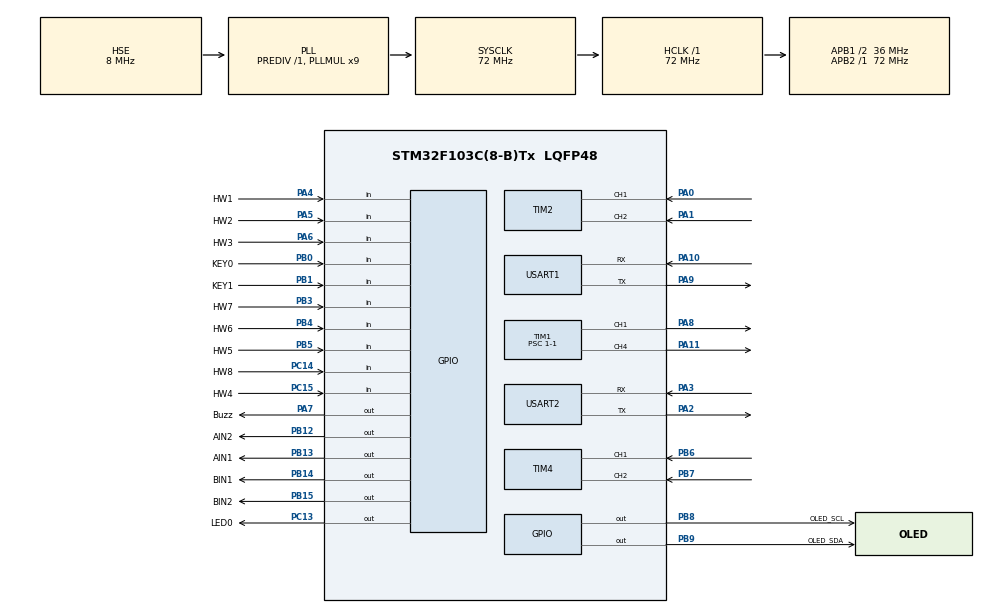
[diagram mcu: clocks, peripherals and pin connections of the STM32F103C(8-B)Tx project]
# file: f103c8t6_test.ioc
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Mcu.Family=STM32F1
Mcu.Name=STM32F103C(8-B)Tx
Mcu.Package=LQFP48
NVIC.PriorityGroup=NVIC_PRIORITYGROUP_2
NVIC.TIM2_IRQn=true\:3\:0\:true\:false\:true\:true\:true\:true
NVIC.TIM3_IRQn=true\:1\:0\:true\:false\:true\:true\:true\:true
NVIC.TIM4_IRQn=true\:3\:0\:true\:false\:true\:true\:true\:true
NVIC.USART1_IRQn=true\:2\:0\:true\:false\:true\:true\:true\:true
NVIC.USART2_IRQn=true\:1\:0\:true\:false\:true\:true\:true\:true
PA0-WKUP.Signal=S_TIM2_CH1_ETR
PA1.Signal=S_TIM2_CH2
PA10.Mode=Asynchronous
PA10.Signal=USART1_RX
PA11.Signal=S_TIM1_CH4
PA13.Mode=Serial_Wire
PA13.Signal=SYS_JTMS-SWDIO
PA14.Mode=Serial_Wire
PA14.Signal=SYS_JTCK-SWCLK
PA2.Mode=Asynchronous
PA2.Signal=USART2_TX
PA3.Mode=Asynchronous
PA3.Signal=USART2_RX
PA4.GPIO_Label=HW1
PA4.GPIO_PuPd=GPIO_NOPULL
PA4.Signal=GPIO_Input
PA5.GPIO_Label=HW2
PA5.Signal=GPIO_Input
PA6.GPIO_Label=HW3
PA6.Signal=GPIO_Input
PA7.GPIO_Label=Buzz
PA7.GPIO_ModeDefaultOutputPP=GPIO_MODE_OUTPUT_PP
PA7.GPIO_PuPd=GPIO_NOPULL
PA7.PinState=GPIO_PIN_SET
PA7.Signal=GPIO_Output
PA8.Signal=S_TIM1_CH1
PA9.Mode=Asynchronous
PA9.Signal=USART1_TX
PB0.GPIO_Label=KEY0
PB0.GPIO_PuPd=GPIO_PULLUP
PB0.Signal=GPIO_Input
PB1.GPIO_Label=KEY1
PB1.GPIO_PuPd=GPIO_PULLUP
PB1.Signal=GPIO_Input
PB12.GPIO_Label=AIN2
PB12.Signal=GPIO_Output
PB13.GPIO_Label=AIN1
PB13.Signal=GPIO_Output
PB14.GPIO_Label=BIN1
PB14.Signal=GPIO_Output
PB15.GPIO_Label=BIN2
PB15.Signal=GPIO_Output
PB3.GPIO_Label=HW7
PB3.Signal=GPIO_Input
PB4.GPIO_Label=HW6
PB4.Signal=GPIO_Input
PB5.GPIO_Label=HW5
PB5.Signal=GPIO_Input
PB6.Signal=S_TIM4_CH1
PB7.Signal=S_TIM4_CH2
PB8.GPIO_Label=OLED_SCL
PB8.GPIO_ModeDefaultOutputPP=GPIO_MODE_OUTPUT_OD
PB8.GPIO_PuPd=GPIO_NOPULL
PB8.GPIO_Speed=GPIO_SPEED_FREQ_HIGH
PB8.PinState=GPIO_PIN_RESET
PB8.Signal=GPIO_Output
PB9.GPIO_Label=OLED_SDA
PB9.GPIO_ModeDefaultOutputPP=GPIO_MODE_OUTPUT_OD
PB9.GPIO_PuPd=GPIO_NOPULL
PB9.Signal=GPIO_Output
PC13-TAMPER-RTC.GPIO_Label=LED0
PC13-TAMPER-RTC.PinState=GPIO_PIN_SET
PC13-TAMPER-RTC.Signal=GPIO_Output
PC14-OSC32_IN.GPIO_Label=HW8
PC14-OSC32_IN.Signal=GPIO_Input
PC15-OSC32_OUT.GPIO_Label=HW4
PC15-OSC32_OUT.Signal=GPIO_Input
PD0-OSC_IN.Mode=HSE-External-Oscillator
PD0-OSC_IN.Signal=RCC_OSC_IN
PD1-OSC_OUT.Mode=HSE-External-Oscillator
PD1-OSC_OUT.Signal=RCC_OSC_OUT
ProjectManager.HeapSize=0x200
ProjectManager.StackSize=0x400
ProjectManager.TargetToolchain=MDK-ARM V5.32
RCC.AHBFreq_Value=72000000
RCC.APB1CLKDivider=RCC_HCLK_DIV2
RCC.APB1Freq_Value=36000000
RCC.APB1TimFreq_Value=72000000
RCC.APB2Freq_Value=72000000
RCC.APB2TimFreq_Value=72000000
RCC.HCLKFreq_Value=72000000
RCC.PLLMUL=RCC_PLL_MUL9
RCC.PLLSourceVirtual=RCC_PLLSOURCE_HSE
RCC.SYSCLKFreq_VALUE=72000000
RCC.SYSCLKSource=RCC_SYSCLKSOURCE_PLLCLK
RCC.USBFreq_Value=72000000
SH.S_TIM1_CH1.0=TIM1_CH1,PWM Generation1 CH1
SH.S_TIM1_CH4.0=TIM1_CH4,PWM Generation4 CH4
SH.S_TIM2_CH1_ETR.0=TIM2_CH1,Encoder_Interface
SH.S_TIM2_CH2.0=TIM2_CH2,Encoder_Interface
SH.S_TIM4_CH1.0=TIM4_CH1,Encoder_Interface
SH.S_TIM4_CH2.0=TIM4_CH2,Encoder_Interface
TIM1.AutoReloadPreload=TIM_AUTORELOAD_PRELOAD_ENABLE
TIM1.Channel-PWM\ Generation1\ CH1=TIM_CHANNEL_1
TIM1.Channel-PWM\ Generation4\ CH4=TIM_CHANNEL_4
TIM1.Period=7200-1
TIM1.Prescaler=1-1
TIM2.EncoderMode=TIM_ENCODERMODE_TI12
TIM3.Period=200-1
TIM3.Prescaler=7200-1
TIM4.EncoderMode=TIM_ENCODERMODE_TI12
USART1.VirtualMode=VM_ASYNC
USART2.VirtualMode=VM_ASYNC
VP_TIM3_VS_ClockSourceINT.Mode=Internal
board=custom

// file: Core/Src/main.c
/* USER CODE BEGIN Header */
/**
 ******************************************************************************
 * @file           : main.c
 * @brief          : Main program body
 ******************************************************************************
 * @attention
 *
 * Copyright (c) 2024 STMicroelectronics.
 * All rights reserved.
 *
 * This software is lic 橙v    ensed under terms that can be found in the LICENSE file
 * in the root directory of this software component.
 * If no LICENSE file comes with this software, it is provided AS-IS.
 *
 ******************************************************************************
 */
/* USER CODE END Header */
#include "main.h"
#include "tim.h"
#include "usart.h"
#include "gpio.h"

/* USER CODE BEGIN Includes */
#include "oled.h"
#include "bmp.h"
#include "encoder.h"
#include "motor.h"
#include "pid.h"
#include "control.h"
#include "protocol.h"
// #include "mpu6050.h"
// #include "inv_mpu.h"
// #include "inv_mpu_dmp_motion_driver.h"
#include "jy61p.h"
#include "key.h"
#include "menu.h"
#include "line.h"
#include "buzz.h"

/* USER CODE END Includes */

/* USER CODE BEGIN PM */
uint8_t g_oledstring[50];                    // OLED显示
float g_pitch_6050, g_roll_6050, g_yaw_6050; // MPU6050的俯仰角 横滚�??? 航向�???
extern uint8_t g_usart2_receivedata;         // 串口2接收数据
uint8_t g_mode = 0;
// 小车运行模式
/* USER CODE END PM */

void SystemClock_Config(void);

/* USER CODE BEGIN 0 */
int count = 0;
/* USER CODE END 0 */

int main(void)
{

  /* MCU Configuration--------------------------------------------------------*/

  /* Reset of all peripherals, Initializes the Flash interface and the Systick. */
  HAL_Init();

  /* Configure the system clock */
  SystemClock_Config();

  /* Initialize all configured peripherals */
  MX_GPIO_Init();
  MX_TIM1_Init();
  MX_TIM4_Init();
  MX_TIM3_Init();
  MX_USART1_UART_Init();
  MX_USART2_UART_Init();
  MX_TIM2_Init();
  /* USER CODE BEGIN 2 */

  HAL_TIM_Encoder_Start(&htim2, TIM_CHANNEL_ALL); // �???启定时器2 编码器模�???
  HAL_TIM_Encoder_Start(&htim4, TIM_CHANNEL_ALL); // �???启定时器4 编码器模�???
  HAL_TIM_Base_Start_IT(&htim2);                  // �???启定时器2 中断
  HAL_TIM_Base_Start_IT(&htim4);                  // �???启定时器4 中断

  set_motor1_enable(); // 使能电机
  set_motor2_enable(); // 使能电机

  HAL_TIM_PWM_Start(&htim1, TIM_CHANNEL_4); // �???启定时器1 通道4 PWM输出
  HAL_TIM_PWM_Start(&htim1, TIM_CHANNEL_1); // �???启定时器1 通道1 PWM输出

  HAL_TIM_Base_Start_IT(&htim3); // �???启定时器3中断

  pid_param_init(); // pid参数初始�???

  __HAL_UART_ENABLE_IT(&huart1, UART_IT_RXNE);            // 串口1接收中断，只�???启接收中断，与上位机通信
  HAL_UART_Receive_IT(&huart2, &g_usart2_receivedata, 1); // 串口2接收数据中断

  //  protocol_init();       //这个初始化了才能通过上位机控制呀, 再看这个注意事项

  OLED_Init();         // OLED初始�???
  OLED_ColorTurn(0);   // 0正常显示�???1 反色显示
  OLED_DisplayTurn(0); // 0正常显示 1 屏幕翻转显示

  /* 初始化蜂鸣器，确保不响 */
  Buzz_Init();

  /* MPU6050初始�??? */
  //  HAL_Delay(500);//延时0.5�??? 6050上电稳定后初始化
  //  MPU_Init(); //初始化MPU6050
  //  while(MPU_Init()!=0);
  //  while(mpu_dmp_init()!=0);

  uint8_t key = 0;
  uint16_t target_angle = 0;

  /* USER CODE END 2 */

  /* Infinite loop */
  /* USER CODE BEGIN WHILE */

  // car_go(220);
  // car_spin(back_180);
  //  load_motor_pwm(500,500);
  // car_spin(left_90);
  // car_stop();
  // car_spin_degree(120);
  car_go(130, 0);
  while (1)
  {

    //      receiving_process();//解析野火上位机�?�信协议,调试电机位置速度串级PID时用,不用时注�???
    // if(g_Stop_Flag==0&&count==0){
    //    Buzz(10000);
    //    g_Stop_Flag=1;
    //     car_go(95);
    //  }
    // if(g_Stop_Flag==0&&count==1){
    //    Buzz(10000);
    //    g_Stop_Flag=1;
    //     car_go_line(122);
    //		 detect_line();
    //  }
    //	if(g_Stop_Flag==0&&count==2)
    // {
    //  g_Stop_Flag=1;
    //  Buzz(10000);
    //  car_spin_degree(179.5);
    //}
    // if(g_Stop_Flag==0&&count==3)
    // {
    //	  Buzz(10000);
    //	  g_Stop_Flag=1;
    //		car_go(105);
    // }
    //  if(g_Stop_Flag==0&&count==4)
    // {
    //	  Buzz(10000);
    //	  g_Stop_Flag=1;
    //		car_go_line(125);
    // }

    //
    // if(g_Stop_Flag==0&&count==0){
    //    Buzz(10000);
    //    g_Stop_Flag=1;
    //     car_go(130);
    //  }
    // if(g_Stop_Flag==0&&count==1){
    //    Buzz(10000);
    //    g_Stop_Flag=1;
    //     car_go_line(128);
    //		 detect_line();
    //  }
    //	if(g_Stop_Flag==0&&count==2)
    // {
    //  g_Stop_Flag=1;
    //  Buzz(10000);
    //  car_spin_degree(-128.66);
    //}
    // if(g_Stop_Flag==0&&count==3)
    // {
    //	  Buzz(10000);
    //	  g_Stop_Flag=1;
    //		car_go(130);
    // }
    //  if(g_Stop_Flag==0&&count==4)
    // {
    //	  Buzz(10000);
    //	  g_Stop_Flag=1;
    //		car_go_line(125);
    // }
    //
    // if (g_Stop_Flag == 0 && count == 0)
    // {
    //   Buzz(10000);
    //   g_Stop_Flag = 1;
    //   car_spin_degree(-35.66);
    // }
    // if (g_Stop_Flag == 0 && count == 1)
    // {
    //   Buzz(10000);
    //   g_Stop_Flag = 1;
    //   car_go(128);
    // }
    // if (g_Stop_Flag == 0 && count == 2)
    // {
    //   Buzz(10000);
    //   g_Stop_Flag = 1;
    //   car_go_line(128);
    // }
    // if (g_Stop_Flag == 0 && count == 3)
    // {
    //   g_Stop_Flag = 1;
    //   Buzz(10000);
    //   car_spin_degree(-179.5);
    // }
    // if (g_Stop_Flag == 0 && count == 4)
    // {
    //   Buzz(10000);
    //   g_Stop_Flag = 1;
    //   car_go(6);
    // }
    // if (g_Stop_Flag == 0 && count == 5)
    // {
    //   g_Stop_Flag = 1;
    //   Buzz(10000);
    //   car_spin_degree(-130.66);
    // }
    // if (g_Stop_Flag == 0 && count == 6)
    // {
    //   Buzz(10000);
    //   g_Stop_Flag = 1;
    //   car_go(130);
    // }
    // if (g_Stop_Flag == 0 && count == 7)
    // {
    //   Buzz(10000);
    //   g_Stop_Flag = 1;
    //   car_go_line(125);
    // }
    /* 菜单测试 */
    if (g_mode == 0) // 启动菜单选择
    {
      // g_mode = menu_start_select();
      //	car_go(205);
    }
    else if (g_mode == 1) // 巡线直行测试
    {
      g_Line_Flag = 1;
    }
    else if (g_mode == 2) // 位置环测�??? b
    {
      key = key_scan(0);
      if (key)
      {
        switch (key)
        {
        case KEY0_PRES:
          HAL_Delay(1000); // 给出时间拿开手，防止干扰车子启动
          // car_go(120);
          break;
        case KEY1_PRES:
          HAL_Delay(1000); // 给出时间拿开手，防止干扰车子启动
          // car_go(60);
          break;
        }
      }
    }
    else if (g_mode == 3) // 位置环转弯测�???
    {
      key = key_scan(0);
      if (key)
      {
        switch (key)
        {
        case KEY0_PRES:
          HAL_Delay(500); // 给出时间拿开手，防止干扰车子启动
          car_spin(left_90);
          break;
        case KEY1_PRES:
          HAL_Delay(500); // 给出时间拿开手，防止干扰车子启动
          car_spin(back_180);
          break;
        }
      }
    }
    else if (g_mode == 4) // 角度环测�???
    {
      g_Angle_Flag = 1;
      key = key_scan(0);
      if (key)
      {
        switch (key)
        {
        case KEY0_PRES:
          HAL_Delay(500); // 给出时间拿开手，防止干扰车子启动
          target_angle = target_angle + 90;
          if (target_angle > 360)
            target_angle = 0;
          set_pid_target(&g_pid_turn_angle, target_angle);
          break;
        case KEY1_PRES:
          HAL_Delay(500); // 给出时间拿开手，防止干扰车子启动
          target_angle = target_angle + 180;
          if (target_angle > 360)
            target_angle = 0;
          set_pid_target(&g_pid_turn_angle, target_angle);
          break;
        }
      }
    }
    sprintf((char *)g_oledstring, "Yaw:%6.2f", g_yaw_jy61); // 显示
    OLED_ShowString(0, 32, g_oledstring, 16, 1);            // 这个是oled驱动里面的，是显示位置的�???个函数，
    OLED_Refresh();

    //      /* 查看jy901角度测试 */
    //      sprintf((char*)g_oledstring,"Roll:%6.2f",g_roll_jy61);//显示
    //      OLED_ShowString(0,0,g_oledstring,16,1);//这个是oled驱动里面的，是显示位置的�???个函数，
    //      sprintf((char*)g_oledstring,"Pitch:%6.2f",g_pitch_jy61);//显示
    //      OLED_ShowString(0,16,g_oledstring,16,1);//这个是oled驱动里面的，是显示位置的�???个函数，
    //      sprintf((char*)g_oledstring,"Yaw:%6.2f",g_yaw_jy61);//显示
    //      OLED_ShowString(0,32,g_oledstring,16,1);//这个是oled驱动里面的，是显示位置的�???个函数，
    //      OLED_Refresh();

    //      /* 查看mpu6050角度测试 */
    //      sprintf((char *)g_oledstring,"pitch:%.2f",g_pitch_6050);//显示6050数据
    //      OLED_ShowString(0,0,g_oledstring,8,1);
    //      sprintf((char *)g_oledstring,"roll:%.2f",g_roll_6050);//显示6050数据
    //      OLED_ShowString(0,8,g_oledstring,8,1);
    //      sprintf((char *)g_oledstring,"yaw:%.2f",g_yaw_6050);//显示6050数据
    //      OLED_ShowString(0,16,g_oledstring,8,1);
    //      OLED_Refresh();
    //       //mpu_dmp_get_data(&pitch,&roll,&yaw);//返回�???:0,DMP成功解出欧拉�???
    //      while(mpu_dmp_get_data(&g_pitch_6050,&g_roll_6050,&g_yaw_6050)!=0){}  //这个可以解决经常读不出数据的问题

    //          /* 查看里程数测�??? */
    //      sprintf((char *)g_oledstring,"motor1:%d",g_sigma_motor1pluse);//显示单位时间脉冲�???
    //      OLED_ShowString(0,0,g_oledstring,8,1);  //显示在OLED�???
    //      sprintf((char *)g_oledstring,"jour1:%.2f",g_motor1_journey_cm);//显示总里程数
    //      OLED_ShowString(0,8,g_oledstring,8,1);  //显示在OLED�???
    //
    //      sprintf((char *)g_oledstring,"motor2:%d",g_sigma_motor2pluse);//显示单位时间脉冲�???
    //      OLED_ShowString(0,16,g_oledstring,8,1);  //显示在OLED�???
    //      sprintf((char *)g_oledstring,"jour2:%.2f",g_motor2_journey_cm);//显示总里程数
    //      OLED_ShowString(0,24,g_oledstring,8,1);  //显示在OLED�???
    //
    //      OLED_Refresh();

    //      HAL_GPIO_TogglePin(LED0_GPIO_Port,LED0_Pin);
    /* USER CODE END WHILE */

  }
}

void SystemClock_Config(void)
{
  RCC_OscInitTypeDef RCC_OscInitStruct = {0};
  RCC_ClkInitTypeDef RCC_ClkInitStruct = {0};

  /** Initializes the RCC Oscillators according to the specified parameters
   * in the RCC_OscInitTypeDef structure.
   */
  RCC_OscInitStruct.OscillatorType = RCC_OSCILLATORTYPE_HSE;
  RCC_OscInitStruct.HSEState = RCC_HSE_ON;
  RCC_OscInitStruct.HSEPredivValue = RCC_HSE_PREDIV_DIV1;
  RCC_OscInitStruct.HSIState = RCC_HSI_ON;
  RCC_OscInitStruct.PLL.PLLState = RCC_PLL_ON;
  RCC_OscInitStruct.PLL.PLLSource = RCC_PLLSOURCE_HSE;
  RCC_OscInitStruct.PLL.PLLMUL = RCC_PLL_MUL9;
  if (HAL_RCC_OscConfig(&RCC_OscInitStruct) != HAL_OK)
  {
    Error_Handler();
  }

  /** Initializes the CPU, AHB and APB buses clocks
   */
  RCC_ClkInitStruct.ClockType = RCC_CLOCKTYPE_HCLK | RCC_CLOCKTYPE_SYSCLK | RCC_CLOCKTYPE_PCLK1 | RCC_CLOCKTYPE_PCLK2;
  RCC_ClkInitStruct.SYSCLKSource = RCC_SYSCLKSOURCE_PLLCLK;
  RCC_ClkInitStruct.AHBCLKDivider = RCC_SYSCLK_DIV1;
  RCC_ClkInitStruct.APB1CLKDivider = RCC_HCLK_DIV2;
  RCC_ClkInitStruct.APB2CLKDivider = RCC_HCLK_DIV1;

  if (HAL_RCC_ClockConfig(&RCC_ClkInitStruct, FLASH_LATENCY_2) != HAL_OK)
  {
    Error_Handler();
  }
}

void Error_Handler(void)
{
  __disable_irq();
  while (1)
  {
  }
}
